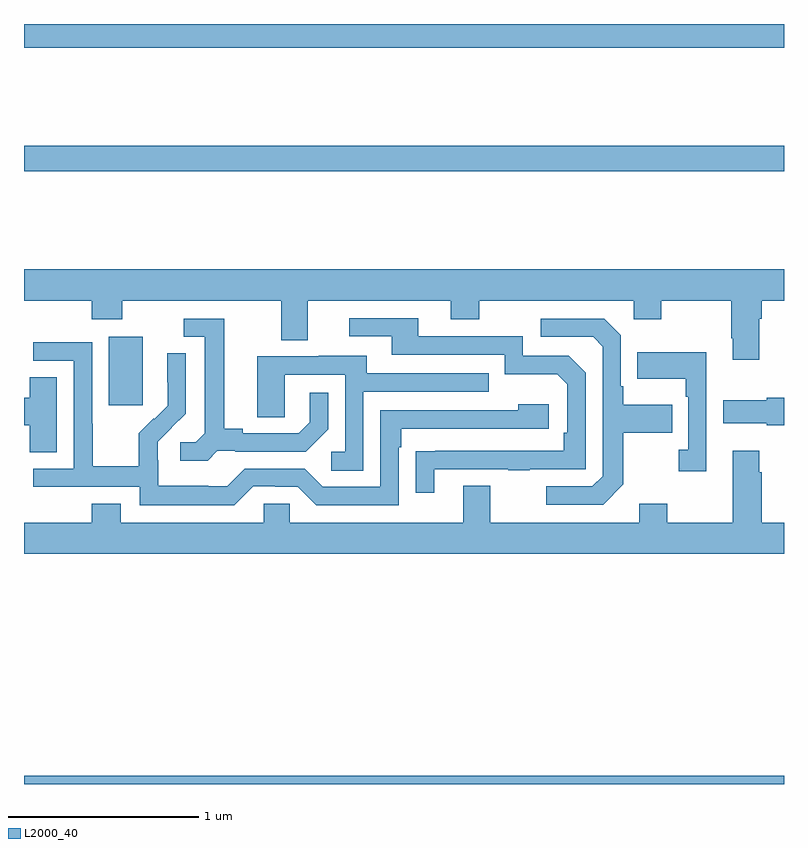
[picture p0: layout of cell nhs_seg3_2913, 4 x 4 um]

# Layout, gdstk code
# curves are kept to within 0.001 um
import gdstk
lib = gdstk.Library(unit=1e-6, precision=1e-09)
def R(c, l, rs):  # rectangles x0, y0, x1, y1
    for r in rs: c.add(gdstk.rectangle(r[:2], r[2:], *l))
def P(c, l, *ps):  # polygons
    for p in ps: c.add(gdstk.Polygon(p, *l))
L2000_40 = (2000, 40)

nhs_seg3_2913 = lib.new_cell('nhs_seg3_2913')
R(nhs_seg3_2913, L2000_40, [(263,670.4,267,670.444), (263.447,672.393,263.626,672.754), (263,673.624,267,673.76), (263,674.276,267,674.4)])
P(nhs_seg3_2913, L2000_40, [(266.869,672.848),(266.882,672.848),(266.882,672.944),(267,672.944),(267,673.108),(263,673.108),(263,672.944),(263.357,672.944),(263.357,672.845),(263.517,672.845),(263.517,672.944),(264.353,672.944),(264.353,672.736),(264.493,672.736),(264.493,672.944),(265.247,672.944),(265.247,672.845),(265.395,672.845),(265.395,672.944),(266.208,672.944),(266.208,672.845),(266.355,672.845),(266.355,672.944),(266.722,672.944),(266.722,672.745),(266.729,672.745),(266.729,672.633),(266.869,672.633)],
  [(265.159,672.057),(265.549,672.057),(265.549,672.052),(265.661,672.052),(265.661,672.057),(265.956,672.057),(265.956,672.564),(265.866,672.654),(265.626,672.654),(265.626,672.756),(265.075,672.756),(265.075,672.852),(264.711,672.852),(264.711,672.756),(264.935,672.756),(264.935,672.66),(265.53,672.66),(265.53,672.557),(265.807,672.557),(265.86,672.504),(265.86,672.25),(265.84,672.25),(265.84,672.153),(265.063,672.152),(265.063,671.934),(265.159,671.934)],
  [(264.018,672.153),(264.112,672.153),(264.112,672.15),(264.484,672.15),(264.6,672.266),(264.6,672.46),(264.503,672.46),(264.503,672.303),(264.446,672.246),(264.151,672.246),(264.151,672.269),(264.055,672.269),(264.055,672.849),(263.841,672.849),(263.841,672.753),(263.951,672.753),(263.951,672.245),(263.904,672.198),(263.823,672.198),(263.823,672.101),(263.966,672.101)],
  [(266.155,671.977),(266.155,672.25),(266.411,672.25),(266.411,672.397),(266.155,672.397),(266.155,672.493),(266.142,672.493),(266.142,672.762),(266.055,672.849),(265.719,672.849),(265.719,672.753),(265.995,672.753),(266.046,672.702),(266.046,672.021),(265.992,671.967),(265.749,671.967),(265.749,671.871),(266.049,671.871)],
  [(264.207,671.967),(264.323,671.967),(264.323,671.964),(264.441,671.964),(264.537,671.868),(264.972,671.868),(264.972,672.173),(264.985,672.173),(264.985,672.27),(265.762,672.27),(265.762,672.4),(265.601,672.4),(265.601,672.366),(264.876,672.366),(264.876,671.964),(264.573,671.964),(264.477,672.06),(264.162,672.06),(264.069,671.967),(263.969,671.967),(263.969,671.971),(263.706,671.971),(263.706,672.105),(263.704,672.105),(263.704,672.202),(263.85,672.35),(263.85,672.668),(263.754,672.668),(263.754,672.514),(263.756,672.514),(263.756,672.392),(263.685,672.321),(263.682,672.324),(263.605,672.247),(263.605,672.073),(263.361,672.073),(263.361,672.296),(263.358,672.296),(263.358,672.726),(263.049,672.726),(263.049,672.627),(263.262,672.627),(263.262,672.06),(263.049,672.06),(263.049,671.964),(263.61,671.964),(263.61,671.867),(264.107,671.867)],
  [(266.592,672.673),(266.227,672.673),(266.227,672.533),(266.484,672.533),(266.484,672.437),(266.496,672.437),(266.496,672.158),(266.445,672.158),(266.445,672.045),(266.592,672.045)],
  [(264.786,672.465),(265.445,672.465),(265.445,672.561),(264.805,672.561),(264.805,672.655),(264.551,672.655),(264.551,672.651),(264.227,672.651),(264.227,672.331),(264.372,672.331),(264.372,672.555),(264.69,672.555),(264.69,672.15),(264.618,672.15),(264.618,672.049),(264.786,672.049)],
  [(263.173,672.542),(263.03,672.542),(263.03,672.434),(263,672.434),(263,672.287),(263.03,672.287),(263.03,672.145),(263.173,672.145)],
  [(267,672.434),(266.909,672.434),(266.909,672.421),(266.679,672.421),(266.679,672.299),(266.909,672.299),(266.909,672.287),(267,672.287)],
  [(265.313,671.971),(265.313,671.776),(264.399,671.776),(264.399,671.874),(264.261,671.874),(264.261,671.776),(263.509,671.776),(263.509,671.875),(263.357,671.875),(263.357,671.776),(263,671.776),(263,671.612),(267,671.612),(267,671.776),(266.882,671.776),(266.882,672.041),(266.869,672.041),(266.869,672.154),(266.729,672.154),(266.729,671.776),(266.385,671.776),(266.385,671.875),(266.237,671.875),(266.237,671.776),(265.453,671.776),(265.453,671.971)])

lib.write_gds('nhs_seg3_2913.gds')
